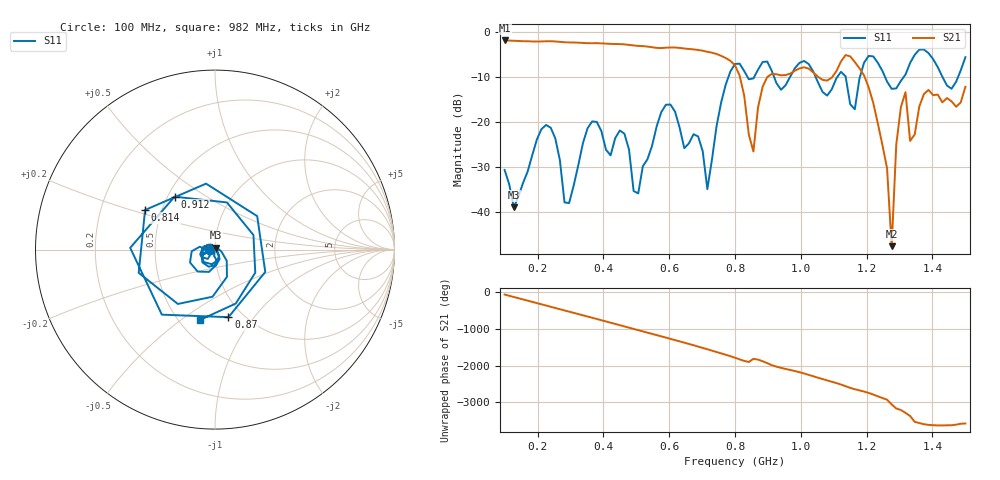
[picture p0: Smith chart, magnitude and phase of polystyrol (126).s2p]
! NanoVNA-App
! Date: 2025-09-25 15:30:52
! Start: 100MHz Stop: 1,5GHz Points: 101
! S-Parameter data: F S11 S21 S12 S22
# Hz S RI R 50
!  Frequency  S11_Real  S11_Imag  S21_Real  S21_Imag  S12_Real  S12_Imag  S22_Real  S22_Imag
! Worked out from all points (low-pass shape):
!   101 points, 100 MHz to 1.5 GHz, reference 50 ohm
!   highest |S21| = -1.80 dB at 100 MHz (marker M1); lowest = -47.7 dB at 1.276 GHz (marker M2)
!   |S21| within 3 dB of the highest: start of sweep to 743 MHz
!   lowest |S11| = -39.0 dB at 128 MHz (marker M3), VSWR 1.02, Z = 50.3 + j1.07 ohm
!   |S11| at or under -10 dB: start of sweep to 779.8 MHz; 1.045 GHz to 1.11 GHz (65 MHz wide, 6.03 % of centre); 1.256 GHz to 1.312 GHz (55.93 MHz wide, 4.36 % of centre) (the widest 3 of 7)
!   S12 and S22 are empty: the file has one direction only
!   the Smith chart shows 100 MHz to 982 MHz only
!   S11 on the Smith chart (normalised r, x): 100 MHz: 0.94, -0.01; 814 MHz: 0.40, +0.22; 870 MHz: 0.85, -0.76; 912 MHz: 0.54, +0.37; 982 MHz: 0.64, -0.59
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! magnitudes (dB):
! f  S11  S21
! 100 MHz  -30.7  -1.8
! 128 MHz  -39.0  -1.9
! 212 MHz  -21.6  -2.0
! 282 MHz  -37.9  -2.2
! 338 MHz  -24.7  -2.3
! 506 MHz  -35.9  -3.0
! 576 MHz  -17.8  -3.5
! 716 MHz  -35.0  -4.3
! 800 MHz  -7.0  -7.4
! 814 MHz  -7.0  -9.6
! 856 MHz  -10.3  -26.6
! 870 MHz  -8.3  -16.7
! 912 MHz  -8.6  -9.2
! 982 MHz  -8.0  -8.6
! 1.038 GHz  -8.8  -8.9
! 1.192 GHz  -6.8  -9.6
! 1.262 GHz  -11.0  -30.3
! 1.276 GHz  -12.6  -47.7
! 1.29 GHz  -12.5  -25.0
! 1.318 GHz  -9.4  -13.3
! 1.332 GHz  -6.8  -24.2
! 1.5 GHz  -5.5  -12.1
